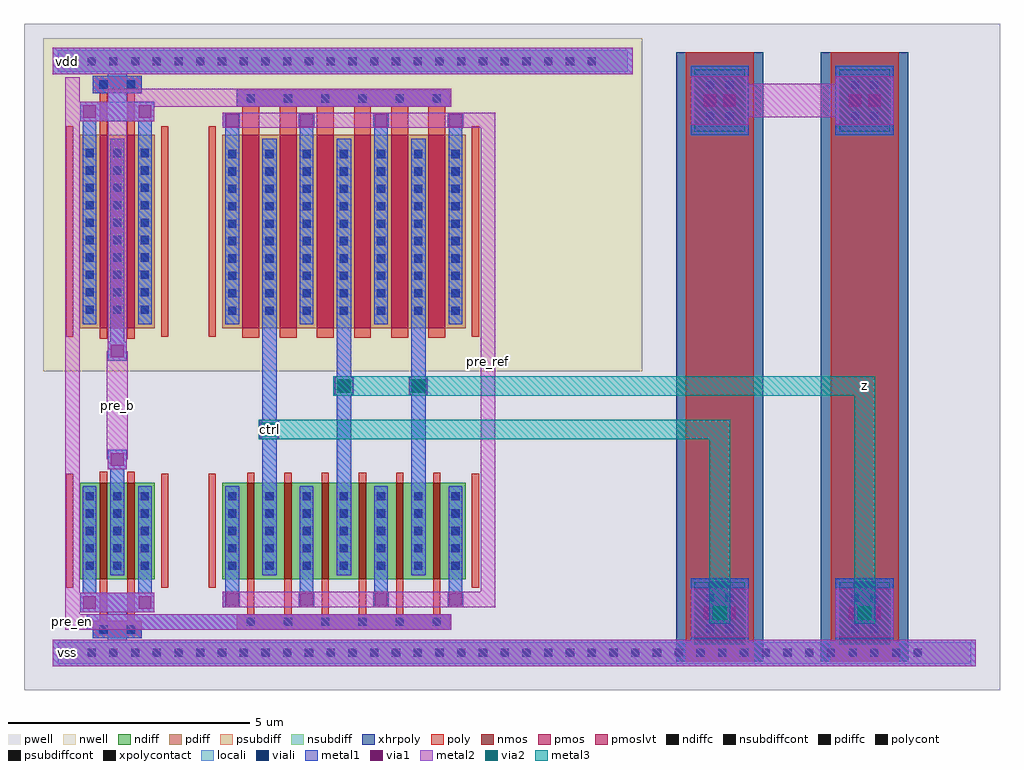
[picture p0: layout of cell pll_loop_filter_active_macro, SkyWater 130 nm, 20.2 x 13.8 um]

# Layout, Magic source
magic
tech sky130A
magscale 1 2
<< pwell >>
rect 0 0 4040 2760
<< nwell >>
rect 80 1320 2560 2700
<< nsubdiff >>
rect 140 2560 2500 2650
<< locali >>
rect 140 2560 2500 2650
rect 140 110 3920 200
rect 285 216 487 288
rect 244 324 300 844
rect 358 476 414 996
rect 472 324 528 844
rect 346 916 426 996
rect 232 324 540 404
rect 285 2472 487 2544
rect 244 1516 300 2436
rect 358 1364 414 2284
rect 472 1516 528 2436
rect 232 2356 540 2436
rect 346 1364 426 1444
rect 260 250 1768 316
rect 880 2416 1768 2490
rect 834 350 890 844
rect 834 1516 890 2384
rect 986 476 1046 2284
rect 1142 350 1198 844
rect 1142 1516 1198 2384
rect 1294 476 1354 2284
rect 1450 350 1506 844
rect 1450 1516 1506 2384
rect 1602 476 1662 2284
rect 1758 350 1814 844
rect 1758 1516 1814 2384
rect 2763 180 2997 460
rect 2763 2302 2997 2582
rect 3363 180 3597 460
rect 3363 2302 3597 2582
<< metal1 >>
rect 120 2550 2520 2660
rect 120 100 3940 210
rect 285 216 487 288
rect 244 324 300 844
rect 358 476 414 996
rect 472 324 528 844
rect 346 916 426 996
rect 352 922 420 990
rect 232 324 540 404
rect 238 330 306 398
rect 466 330 534 398
rect 285 2472 487 2544
rect 244 1516 300 2436
rect 358 1364 414 2284
rect 472 1516 528 2436
rect 232 2356 540 2436
rect 238 2362 306 2430
rect 466 2362 534 2430
rect 346 1364 426 1444
rect 352 1370 420 1438
rect 346 150 426 388
rect 346 2372 426 2610
rect 260 250 1768 316
rect 880 2416 1768 2490
rect 834 350 890 844
rect 834 1516 890 2384
rect 830 344 894 408
rect 830 2328 894 2392
rect 986 476 1046 2284
rect 980 1044 1052 1116
rect 1142 350 1198 844
rect 1142 1516 1198 2384
rect 1138 344 1202 408
rect 1138 2328 1202 2392
rect 1294 476 1354 2284
rect 1288 1224 1360 1296
rect 1450 350 1506 844
rect 1450 1516 1506 2384
rect 1446 344 1510 408
rect 1446 2328 1510 2392
rect 1602 476 1662 2284
rect 1596 1224 1668 1296
rect 1758 350 1814 844
rect 1758 1516 1814 2384
rect 1754 344 1818 408
rect 1754 2328 1818 2392
rect 2759 176 3001 464
rect 2804 284 2876 356
rect 2884 284 2956 356
rect 2759 2298 3001 2586
rect 2804 2406 2876 2478
rect 2884 2406 2956 2478
rect 3359 176 3601 464
rect 3404 284 3476 356
rect 3484 284 3556 356
rect 3359 2298 3601 2586
rect 3404 2406 3476 2478
rect 3484 2406 3556 2478
<< metal2 >>
rect 120 2550 2520 2660
rect 120 100 3940 210
rect 346 916 426 996
rect 352 922 420 990
rect 232 324 540 404
rect 238 330 306 398
rect 466 330 534 398
rect 232 2356 540 2436
rect 238 2362 306 2430
rect 466 2362 534 2430
rect 346 1364 426 1444
rect 352 1370 420 1438
rect 342 956 430 1404
rect 170 250 1768 316
rect 170 250 230 2538
rect 346 2416 1768 2490
rect 346 1180 426 2490
rect 830 344 894 408
rect 830 2328 894 2392
rect 980 1044 1052 1116
rect 976 1040 1056 1120
rect 1138 344 1202 408
rect 1138 2328 1202 2392
rect 1288 1224 1360 1296
rect 1284 1220 1364 1300
rect 1446 344 1510 408
rect 1446 2328 1510 2392
rect 1596 1224 1668 1296
rect 1592 1220 1672 1300
rect 1754 344 1818 408
rect 1754 2328 1818 2392
rect 822 344 1950 408
rect 822 2328 1950 2392
rect 1890 344 1950 2392
rect 2759 220 3001 420
rect 2804 284 2876 356
rect 2884 284 2956 356
rect 2759 2342 3001 2542
rect 2804 2406 2876 2478
rect 2884 2406 2956 2478
rect 3359 220 3601 420
rect 3404 284 3476 356
rect 3484 284 3556 356
rect 3359 2342 3601 2542
rect 3404 2406 3476 2478
rect 3484 2406 3556 2478
rect 2800 2372 3560 2512
rect 2840 280 2920 360
rect 3440 280 3520 360
<< nsubdiffcont >>
rect 173 2587 207 2621
rect 263 2587 297 2621
rect 353 2587 387 2621
rect 443 2587 477 2621
rect 533 2587 567 2621
rect 623 2587 657 2621
rect 713 2587 747 2621
rect 803 2587 837 2621
rect 893 2587 927 2621
rect 983 2587 1017 2621
rect 1073 2587 1107 2621
rect 1163 2587 1197 2621
rect 1253 2587 1287 2621
rect 1343 2587 1377 2621
rect 1433 2587 1467 2621
rect 1523 2587 1557 2621
rect 1613 2587 1647 2621
rect 1703 2587 1737 2621
rect 1793 2587 1827 2621
rect 1883 2587 1917 2621
rect 1973 2587 2007 2621
rect 2063 2587 2097 2621
rect 2153 2587 2187 2621
rect 2243 2587 2277 2621
rect 2333 2587 2367 2621
<< viali >>
rect 173 2587 207 2621
rect 263 2587 297 2621
rect 353 2587 387 2621
rect 443 2587 477 2621
rect 533 2587 567 2621
rect 623 2587 657 2621
rect 713 2587 747 2621
rect 803 2587 837 2621
rect 893 2587 927 2621
rect 983 2587 1017 2621
rect 1073 2587 1107 2621
rect 1163 2587 1197 2621
rect 1253 2587 1287 2621
rect 1343 2587 1377 2621
rect 1433 2587 1467 2621
rect 1523 2587 1557 2621
rect 1613 2587 1647 2621
rect 1703 2587 1737 2621
rect 1793 2587 1827 2621
rect 1883 2587 1917 2621
rect 1973 2587 2007 2621
rect 2063 2587 2097 2621
rect 2153 2587 2187 2621
rect 2243 2587 2277 2621
rect 2333 2587 2367 2621
rect 173 139 207 173
rect 263 139 297 173
rect 353 139 387 173
rect 443 139 477 173
rect 533 139 567 173
rect 623 139 657 173
rect 713 139 747 173
rect 803 139 837 173
rect 893 139 927 173
rect 983 139 1017 173
rect 1073 139 1107 173
rect 1163 139 1197 173
rect 1253 139 1287 173
rect 1343 139 1377 173
rect 1433 139 1467 173
rect 1523 139 1557 173
rect 1613 139 1647 173
rect 1703 139 1737 173
rect 1793 139 1827 173
rect 1883 139 1917 173
rect 1973 139 2007 173
rect 2063 139 2097 173
rect 2153 139 2187 173
rect 2243 139 2277 173
rect 2333 139 2367 173
rect 2423 139 2457 173
rect 2513 139 2547 173
rect 2603 139 2637 173
rect 2693 139 2727 173
rect 2783 139 2817 173
rect 2873 139 2907 173
rect 2963 139 2997 173
rect 3053 139 3087 173
rect 3143 139 3177 173
rect 3233 139 3267 173
rect 3323 139 3357 173
rect 3413 139 3447 173
rect 3503 139 3537 173
rect 3593 139 3627 173
rect 3683 139 3717 173
rect 312 235 346 269
rect 426 235 460 269
rect 255 499 289 533
rect 255 571 289 605
rect 255 643 289 677
rect 255 715 289 749
rect 255 787 289 821
rect 369 499 403 533
rect 369 571 403 605
rect 369 643 403 677
rect 369 715 403 749
rect 369 787 403 821
rect 483 499 517 533
rect 483 571 517 605
rect 483 643 517 677
rect 483 715 517 749
rect 483 787 517 821
rect 312 2491 346 2525
rect 426 2491 460 2525
rect 255 1559 289 1593
rect 255 1631 289 1665
rect 255 1703 289 1737
rect 255 1775 289 1809
rect 255 1847 289 1881
rect 255 1919 289 1953
rect 255 1991 289 2025
rect 255 2063 289 2097
rect 255 2135 289 2169
rect 255 2207 289 2241
rect 369 1559 403 1593
rect 369 1631 403 1665
rect 369 1703 403 1737
rect 369 1775 403 1809
rect 369 1847 403 1881
rect 369 1919 403 1953
rect 369 1991 403 2025
rect 369 2063 403 2097
rect 369 2135 403 2169
rect 369 2207 403 2241
rect 483 1559 517 1593
rect 483 1631 517 1665
rect 483 1703 517 1737
rect 483 1775 517 1809
rect 483 1847 517 1881
rect 483 1919 517 1953
rect 483 1991 517 2025
rect 483 2063 517 2097
rect 483 2135 517 2169
rect 483 2207 517 2241
rect 922 267 956 301
rect 922 2433 956 2467
rect 1076 267 1110 301
rect 1076 2433 1110 2467
rect 1230 267 1264 301
rect 1230 2433 1264 2467
rect 1384 267 1418 301
rect 1384 2433 1418 2467
rect 1538 267 1572 301
rect 1538 2433 1572 2467
rect 1692 267 1726 301
rect 1692 2433 1726 2467
rect 845 499 879 533
rect 845 571 879 605
rect 845 643 879 677
rect 845 715 879 749
rect 845 787 879 821
rect 845 1555 879 1589
rect 845 1627 879 1661
rect 845 1699 879 1733
rect 845 1771 879 1805
rect 845 1843 879 1877
rect 845 1915 879 1949
rect 845 1987 879 2021
rect 845 2059 879 2093
rect 845 2131 879 2165
rect 845 2203 879 2237
rect 999 499 1033 533
rect 999 571 1033 605
rect 999 643 1033 677
rect 999 715 1033 749
rect 999 787 1033 821
rect 999 1555 1033 1589
rect 999 1627 1033 1661
rect 999 1699 1033 1733
rect 999 1771 1033 1805
rect 999 1843 1033 1877
rect 999 1915 1033 1949
rect 999 1987 1033 2021
rect 999 2059 1033 2093
rect 999 2131 1033 2165
rect 999 2203 1033 2237
rect 1153 499 1187 533
rect 1153 571 1187 605
rect 1153 643 1187 677
rect 1153 715 1187 749
rect 1153 787 1187 821
rect 1153 1555 1187 1589
rect 1153 1627 1187 1661
rect 1153 1699 1187 1733
rect 1153 1771 1187 1805
rect 1153 1843 1187 1877
rect 1153 1915 1187 1949
rect 1153 1987 1187 2021
rect 1153 2059 1187 2093
rect 1153 2131 1187 2165
rect 1153 2203 1187 2237
rect 1307 499 1341 533
rect 1307 571 1341 605
rect 1307 643 1341 677
rect 1307 715 1341 749
rect 1307 787 1341 821
rect 1307 1555 1341 1589
rect 1307 1627 1341 1661
rect 1307 1699 1341 1733
rect 1307 1771 1341 1805
rect 1307 1843 1341 1877
rect 1307 1915 1341 1949
rect 1307 1987 1341 2021
rect 1307 2059 1341 2093
rect 1307 2131 1341 2165
rect 1307 2203 1341 2237
rect 1461 499 1495 533
rect 1461 571 1495 605
rect 1461 643 1495 677
rect 1461 715 1495 749
rect 1461 787 1495 821
rect 1461 1555 1495 1589
rect 1461 1627 1495 1661
rect 1461 1699 1495 1733
rect 1461 1771 1495 1805
rect 1461 1843 1495 1877
rect 1461 1915 1495 1949
rect 1461 1987 1495 2021
rect 1461 2059 1495 2093
rect 1461 2131 1495 2165
rect 1461 2203 1495 2237
rect 1615 499 1649 533
rect 1615 571 1649 605
rect 1615 643 1649 677
rect 1615 715 1649 749
rect 1615 787 1649 821
rect 1615 1555 1649 1589
rect 1615 1627 1649 1661
rect 1615 1699 1649 1733
rect 1615 1771 1649 1805
rect 1615 1843 1649 1877
rect 1615 1915 1649 1949
rect 1615 1987 1649 2021
rect 1615 2059 1649 2093
rect 1615 2131 1649 2165
rect 1615 2203 1649 2237
rect 1769 499 1803 533
rect 1769 571 1803 605
rect 1769 643 1803 677
rect 1769 715 1803 749
rect 1769 787 1803 821
rect 1769 1555 1803 1589
rect 1769 1627 1803 1661
rect 1769 1699 1803 1733
rect 1769 1771 1803 1805
rect 1769 1843 1803 1877
rect 1769 1915 1803 1949
rect 1769 1987 1803 2021
rect 1769 2059 1803 2093
rect 1769 2131 1803 2165
rect 1769 2203 1803 2237
rect 2823 239 2857 273
rect 2823 367 2857 401
rect 2903 239 2937 273
rect 2903 367 2937 401
rect 2823 2361 2857 2395
rect 2823 2489 2857 2523
rect 2903 2361 2937 2395
rect 2903 2489 2937 2523
rect 3423 239 3457 273
rect 3423 367 3457 401
rect 3503 239 3537 273
rect 3503 367 3537 401
rect 3423 2361 3457 2395
rect 3423 2489 3457 2523
rect 3503 2361 3537 2395
rect 3503 2489 3537 2523
<< psubdiff >>
rect 140 110 3920 200
<< psubdiffcont >>
rect 173 139 207 173
rect 263 139 297 173
rect 353 139 387 173
rect 443 139 477 173
rect 533 139 567 173
rect 623 139 657 173
rect 713 139 747 173
rect 803 139 837 173
rect 893 139 927 173
rect 983 139 1017 173
rect 1073 139 1107 173
rect 1163 139 1197 173
rect 1253 139 1287 173
rect 1343 139 1377 173
rect 1433 139 1467 173
rect 1523 139 1557 173
rect 1613 139 1647 173
rect 1703 139 1737 173
rect 1793 139 1827 173
rect 1883 139 1917 173
rect 1973 139 2007 173
rect 2063 139 2097 173
rect 2153 139 2187 173
rect 2243 139 2277 173
rect 2333 139 2367 173
rect 2423 139 2457 173
rect 2513 139 2547 173
rect 2603 139 2637 173
rect 2693 139 2727 173
rect 2783 139 2817 173
rect 2873 139 2907 173
rect 2963 139 2997 173
rect 3053 139 3087 173
rect 3143 139 3177 173
rect 3233 139 3267 173
rect 3323 139 3357 173
rect 3413 139 3447 173
rect 3503 139 3537 173
rect 3593 139 3627 173
rect 3683 139 3717 173
<< ndiff >>
rect 230 460 542 860
rect 820 460 1828 860
<< poly >>
rect 314 220 344 904
rect 428 220 458 904
rect 174 424 204 896
rect 568 424 598 896
rect 285 216 487 288
rect 314 1456 344 2540
rect 428 1456 458 2540
rect 174 1464 204 2336
rect 568 1464 598 2336
rect 285 2472 487 2544
rect 764 424 794 896
rect 764 1464 794 2336
rect 1854 424 1884 896
rect 1854 1464 1884 2336
rect 924 250 954 900
rect 904 1460 974 2490
rect 1078 250 1108 900
rect 1058 1460 1128 2490
rect 1232 250 1262 900
rect 1212 1460 1282 2490
rect 1386 250 1416 900
rect 1366 1460 1436 2490
rect 1540 250 1570 900
rect 1520 1460 1590 2490
rect 1694 250 1724 900
rect 1674 1460 1744 2490
rect 880 250 1768 316
rect 880 2416 1768 2490
rect 2739 120 3021 2642
rect 3339 120 3621 2642
<< nmos >>
rect 314 460 344 860
rect 428 460 458 860
rect 924 460 954 860
rect 1078 460 1108 860
rect 1232 460 1262 860
rect 1386 460 1416 860
rect 1540 460 1570 860
rect 1694 460 1724 860
<< polycont >>
rect 312 235 346 269
rect 426 235 460 269
rect 312 2491 346 2525
rect 426 2491 460 2525
rect 922 267 956 301
rect 922 2433 956 2467
rect 1076 267 1110 301
rect 1076 2433 1110 2467
rect 1230 267 1264 301
rect 1230 2433 1264 2467
rect 1384 267 1418 301
rect 1384 2433 1418 2467
rect 1538 267 1572 301
rect 1538 2433 1572 2467
rect 1692 267 1726 301
rect 1692 2433 1726 2467
rect 2823 239 2857 273
rect 2823 367 2857 401
rect 2903 239 2937 273
rect 2903 367 2937 401
rect 2823 2361 2857 2395
rect 2823 2489 2857 2523
rect 2903 2361 2937 2395
rect 2903 2489 2937 2523
rect 3423 239 3457 273
rect 3423 367 3457 401
rect 3503 239 3537 273
rect 3503 367 3537 401
rect 3423 2361 3457 2395
rect 3423 2489 3457 2523
rect 3503 2361 3537 2395
rect 3503 2489 3537 2523
<< ndiffc >>
rect 255 499 289 533
rect 255 571 289 605
rect 255 643 289 677
rect 255 715 289 749
rect 255 787 289 821
rect 369 499 403 533
rect 369 571 403 605
rect 369 643 403 677
rect 369 715 403 749
rect 369 787 403 821
rect 483 499 517 533
rect 483 571 517 605
rect 483 643 517 677
rect 483 715 517 749
rect 483 787 517 821
rect 845 499 879 533
rect 845 571 879 605
rect 845 643 879 677
rect 845 715 879 749
rect 845 787 879 821
rect 999 499 1033 533
rect 999 571 1033 605
rect 999 643 1033 677
rect 999 715 1033 749
rect 999 787 1033 821
rect 1153 499 1187 533
rect 1153 571 1187 605
rect 1153 643 1187 677
rect 1153 715 1187 749
rect 1153 787 1187 821
rect 1307 499 1341 533
rect 1307 571 1341 605
rect 1307 643 1341 677
rect 1307 715 1341 749
rect 1307 787 1341 821
rect 1461 499 1495 533
rect 1461 571 1495 605
rect 1461 643 1495 677
rect 1461 715 1495 749
rect 1461 787 1495 821
rect 1615 499 1649 533
rect 1615 571 1649 605
rect 1615 643 1649 677
rect 1615 715 1649 749
rect 1615 787 1649 821
rect 1769 499 1803 533
rect 1769 571 1803 605
rect 1769 643 1803 677
rect 1769 715 1803 749
rect 1769 787 1803 821
<< via1 >>
rect 360 930 412 982
rect 246 338 298 390
rect 474 338 526 390
rect 246 2370 298 2422
rect 474 2370 526 2422
rect 360 1378 412 1430
rect 836 350 888 402
rect 836 2334 888 2386
rect 990 1054 1042 1106
rect 1144 350 1196 402
rect 1144 2334 1196 2386
rect 1298 1234 1350 1286
rect 1452 350 1504 402
rect 1452 2334 1504 2386
rect 1606 1234 1658 1286
rect 1760 350 1812 402
rect 1760 2334 1812 2386
rect 2814 294 2866 346
rect 2894 294 2946 346
rect 2814 2416 2866 2468
rect 2894 2416 2946 2468
rect 3414 294 3466 346
rect 3494 294 3546 346
rect 3414 2416 3466 2468
rect 3494 2416 3546 2468
<< pdiff >>
rect 230 1500 542 2300
rect 820 1500 1828 2300
<< pmos >>
rect 314 1500 344 2300
rect 428 1500 458 2300
<< pdiffc >>
rect 255 1559 289 1593
rect 255 1631 289 1665
rect 255 1703 289 1737
rect 255 1775 289 1809
rect 255 1847 289 1881
rect 255 1919 289 1953
rect 255 1991 289 2025
rect 255 2063 289 2097
rect 255 2135 289 2169
rect 255 2207 289 2241
rect 369 1559 403 1593
rect 369 1631 403 1665
rect 369 1703 403 1737
rect 369 1775 403 1809
rect 369 1847 403 1881
rect 369 1919 403 1953
rect 369 1991 403 2025
rect 369 2063 403 2097
rect 369 2135 403 2169
rect 369 2207 403 2241
rect 483 1559 517 1593
rect 483 1631 517 1665
rect 483 1703 517 1737
rect 483 1775 517 1809
rect 483 1847 517 1881
rect 483 1919 517 1953
rect 483 1991 517 2025
rect 483 2063 517 2097
rect 483 2135 517 2169
rect 483 2207 517 2241
rect 845 1555 879 1589
rect 845 1627 879 1661
rect 845 1699 879 1733
rect 845 1771 879 1805
rect 845 1843 879 1877
rect 845 1915 879 1949
rect 845 1987 879 2021
rect 845 2059 879 2093
rect 845 2131 879 2165
rect 845 2203 879 2237
rect 999 1555 1033 1589
rect 999 1627 1033 1661
rect 999 1699 1033 1733
rect 999 1771 1033 1805
rect 999 1843 1033 1877
rect 999 1915 1033 1949
rect 999 1987 1033 2021
rect 999 2059 1033 2093
rect 999 2131 1033 2165
rect 999 2203 1033 2237
rect 1153 1555 1187 1589
rect 1153 1627 1187 1661
rect 1153 1699 1187 1733
rect 1153 1771 1187 1805
rect 1153 1843 1187 1877
rect 1153 1915 1187 1949
rect 1153 1987 1187 2021
rect 1153 2059 1187 2093
rect 1153 2131 1187 2165
rect 1153 2203 1187 2237
rect 1307 1555 1341 1589
rect 1307 1627 1341 1661
rect 1307 1699 1341 1733
rect 1307 1771 1341 1805
rect 1307 1843 1341 1877
rect 1307 1915 1341 1949
rect 1307 1987 1341 2021
rect 1307 2059 1341 2093
rect 1307 2131 1341 2165
rect 1307 2203 1341 2237
rect 1461 1555 1495 1589
rect 1461 1627 1495 1661
rect 1461 1699 1495 1733
rect 1461 1771 1495 1805
rect 1461 1843 1495 1877
rect 1461 1915 1495 1949
rect 1461 1987 1495 2021
rect 1461 2059 1495 2093
rect 1461 2131 1495 2165
rect 1461 2203 1495 2237
rect 1615 1555 1649 1589
rect 1615 1627 1649 1661
rect 1615 1699 1649 1733
rect 1615 1771 1649 1805
rect 1615 1843 1649 1877
rect 1615 1915 1649 1949
rect 1615 1987 1649 2021
rect 1615 2059 1649 2093
rect 1615 2131 1649 2165
rect 1615 2203 1649 2237
rect 1769 1555 1803 1589
rect 1769 1627 1803 1661
rect 1769 1699 1803 1733
rect 1769 1771 1803 1805
rect 1769 1843 1803 1877
rect 1769 1915 1803 1949
rect 1769 1987 1803 2021
rect 1769 2059 1803 2093
rect 1769 2131 1803 2165
rect 1769 2203 1803 2237
<< pmoslvt >>
rect 904 1500 974 2300
rect 1058 1500 1128 2300
rect 1212 1500 1282 2300
rect 1366 1500 1436 2300
rect 1520 1500 1590 2300
rect 1674 1500 1744 2300
<< via2 >>
rect 988 1052 1044 1108
rect 1296 1232 1352 1288
rect 1604 1232 1660 1288
rect 2852 292 2908 348
rect 3452 292 3508 348
<< metal3 >>
rect 976 1040 1056 1120
rect 1284 1220 1364 1300
rect 1592 1220 1672 1300
rect 2840 280 2920 360
rect 972 1040 2924 1120
rect 2836 276 2924 1120
rect 3440 280 3520 360
rect 1280 1220 3524 1300
rect 3436 276 3524 1300
<< xhrpoly >>
rect 2699 120 3061 2642
rect 3299 120 3661 2642
<< xpolycontact >>
rect 2775 190 2985 450
rect 2775 2312 2985 2572
rect 3375 190 3585 450
rect 3375 2312 3585 2572
<< labels >>
rlabel metal2 386 1180 386 1180 1 pre_b
rlabel metal2 200 284 200 284 1 pre_en
rlabel metal2 1920 1360 1920 1360 1 pre_ref
rlabel metal3 1016 1080 1016 1080 1 ctrl
rlabel metal3 3480 1260 3480 1260 1 z
rlabel metal2 180 2604 180 2604 1 vdd
rlabel metal2 180 156 180 156 1 vss
<< end >>
